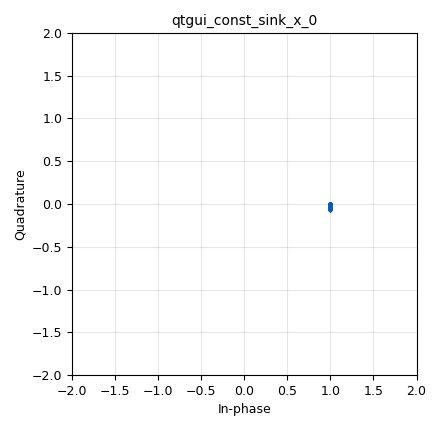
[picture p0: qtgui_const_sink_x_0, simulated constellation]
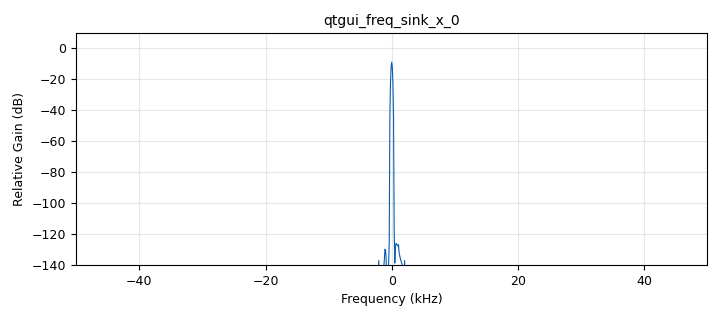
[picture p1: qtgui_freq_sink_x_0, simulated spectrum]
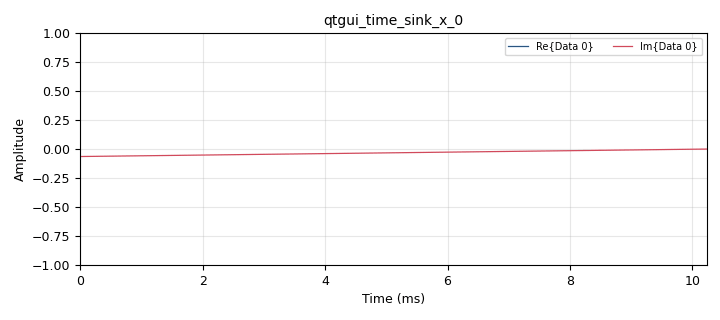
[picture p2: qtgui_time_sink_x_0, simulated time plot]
options:
  parameters:
    author: mzemlo.pl@gmail.com
    comment: |-
      https://www.youtube.com/watch?v=2BhuW1stMYo
      https://github.com/gallicchio/learnSDR/blob/main/lesson03a_complexPlots.grc
    copyright: Maciej Zemlo
    generate_options: qt_gui
    id: Gallicchio_learnSDR_03a_001
    output_language: python
    title: Gallicchio learnSDR 03a 001
  states: {}

blocks:
- name: f
  id: variable_qtgui_range
  parameters:
    label: freq
    start: '-100e3'
    step: '1'
    stop: 100e3
    value: '1'
  states: {}
- name: fc
  id: variable
  parameters:
    value: 3.5e9
  states: {}
- name: samp_rate
  id: variable_qtgui_range
  parameters:
    label: sample_rate
    rangeType: int
    start: '65105'
    step: '1000'
    stop: '61440000'
    value: '100000'
  states: {}
- name: analog_sig_source_x_0
  id: analog_sig_source_x
  parameters:
    amp: '1'
    freq: int ( f )
    offset: '0'
    phase: '0'
    samp_rate: int ( samp_rate )
    type: complex
    waveform: analog.GR_COS_WAVE
  states: {}
- name: blocks_throttle2_0
  id: blocks_throttle2
  parameters:
    samples_per_second: int ( samp_rate )
    type: complex
  states: {}
- name: iio_pluto_sink_0
  id: iio_pluto_sink
  parameters:
    attenuation1: '10.0'
    bandwidth: '20000000'
    buffer_size: '32768'
    cyclic: 'False'
    filter_source: '''Auto'''
    frequency: int ( fc )
    samplerate: int ( samp_rate )
    type: fc32
    uri: ip:192.168.2.1
  states: {state: disabled}
- name: iio_pluto_source_0
  id: iio_pluto_source
  parameters:
    bandwidth: '20000000'
    bbdc: 'True'
    buffer_size: '32768'
    filter_source: '''Auto'''
    frequency: int ( fc )
    gain1: '''slow_attack'''
    quadrature: 'True'
    rfdc: 'True'
    samplerate: int ( samp_rate )
    type: fc32
    uri: ip:192.168.2.1
  states: {state: disabled}
- name: qtgui_const_sink_x_0
  id: qtgui_const_sink_x
  parameters:
    size: '1024'
    type: complex
  states: {}
- name: qtgui_freq_sink_x_0
  id: qtgui_freq_sink_x
  parameters:
    bw: samp_rate
    fc: '0'
    fftsize: '1024'
    type: complex
  states: {}
- name: qtgui_time_sink_x_0
  id: qtgui_time_sink_x
  parameters:
    size: '1024'
    srate: samp_rate
    type: complex
  states: {}

connections:
- [analog_sig_source_x_0, '0', blocks_throttle2_0, '0']
- [blocks_throttle2_0, '0', qtgui_const_sink_x_0, '0']
- [blocks_throttle2_0, '0', qtgui_freq_sink_x_0, '0']
- [blocks_throttle2_0, '0', qtgui_time_sink_x_0, '0']

metadata:
  file_format: 1
  grc_version: 3.10.9.2
